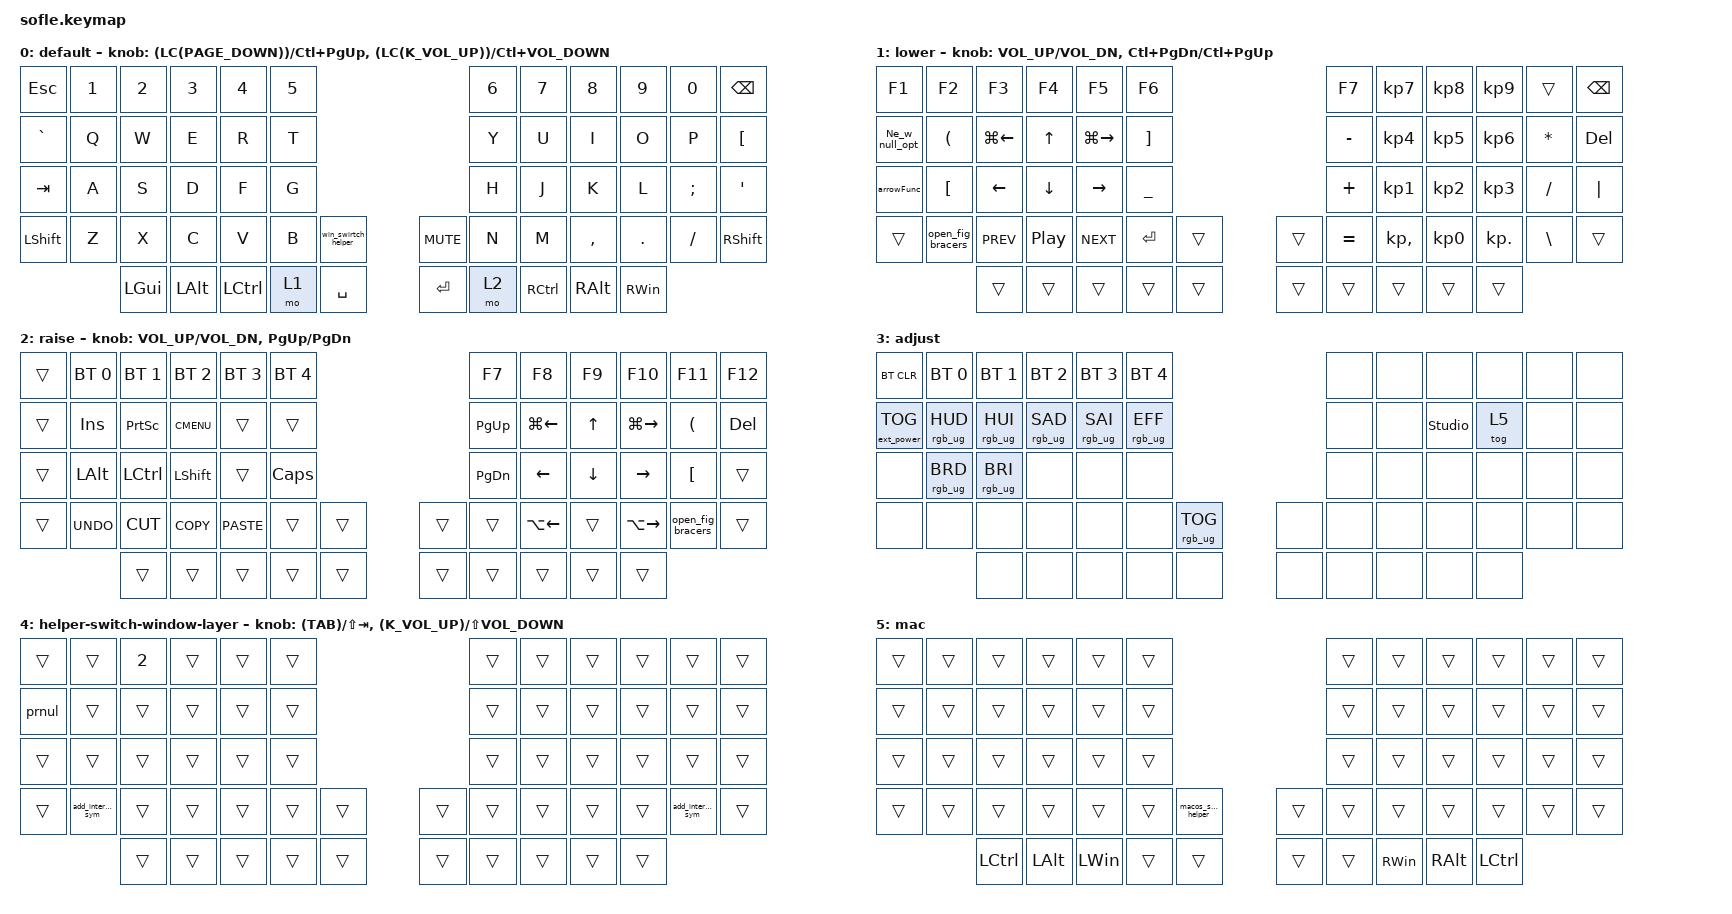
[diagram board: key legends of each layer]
/*
 * Copyright (c) 2020 The ZMK Contributors
 *
 * SPDX-License-Identifier: MIT
 */

#include <behaviors.dtsi>
#include <dt-bindings/zmk/bt.h>
#include <dt-bindings/zmk/ext_power.h>
#include <dt-bindings/zmk/keys.h>
#include <dt-bindings/zmk/rgb.h>

#define BASE 0
#define LOWER 1
#define RAISE 2
#define ADJUST 3

/ {
    // Activate ADJUST layer by pressing raise and lower

    conditional_layers {
        compatible = "zmk,conditional-layers";

        adjust_layer {
            if-layers = <1 2>;
            then-layer = <3>;
        };

        adjust2 {
            if-layers = <4 4>;
            then-layer = <4>;
        };
    };

    sensors: sensors {
        compatible = "zmk,keymap-sensors";
        sensors = <&left_encoder &right_encoder>;
        triggers-per-rotation = <18>;
    };

    left_encoder: encoder_left { steps = <36>; };

    right_encoder: encoder_right { steps = <36>; };

    macros {
        nonEquals: nonEquals {
            compatible = "zmk,behavior-macro";
            #binding-cells = <0>;
            bindings = <&kp EXCL &kp EQUAL>;
            label = "EXCL";
        };

        arrowFunc: arrowFunc {
            compatible = "zmk,behavior-macro";
            #binding-cells = <0>;
            bindings = <&kp EQUAL &kp GT>;
            label = "ARROWFUNC";
        };

        macos_switch_helper: macos_switch_helper {
            compatible = "zmk,behavior-macro";
            #binding-cells = <0>;
            bindings =
                <&macro_press>,
                <&tog 4 &kt LGUI>,
                <&macro_pause_for_release>,
                <&tog 4 &kt LGUI>;

            label = "MACOS_SWITCH_HELPER";
        };

        win_swirtch_helper: win_swirtch_helper {
            compatible = "zmk,behavior-macro";
            #binding-cells = <0>;
            bindings =
                <&macro_press>,
                <&tog 4 &kt LALT>,
                <&macro_pause_for_release>,
                <&tog 4 &kt LALT>,
                <&macro_press>;

            label = "WIN_SWIRTCH_HELPER";
        };

        Ne_w_null_opt: Ne_w_null_opt {
            compatible = "zmk,behavior-macro";
            #binding-cells = <0>;
            bindings = <&kp EXCLAMATION &kp EQUAL &sl 4>;
            label = "NE_W_NULL_OPT";
            tap-ms = <0>;
        };

        prnul: null {
            compatible = "zmk,behavior-macro";
            #binding-cells = <0>;
            bindings = <&kp SPACE &kp N &kp U &kp L &kp L &tog 0>;
            label = "NULL";
        };

        open_fig_bracers: open_fig_bracers {
            compatible = "zmk,behavior-macro";
            #binding-cells = <0>;
            bindings = <&kp LBRC &kp RBRC &sl 4>;
            label = "OPEN_FIG_BRACERS";
        };

        add_interpolation_sym: add_interpolation_sym {
            compatible = "zmk,behavior-macro";
            #binding-cells = <0>;
            bindings = <&kp LEFT_ARROW &kp DOLLAR &kp RIGHT_ARROW &tog 0>;
            label = "ADD_INTERPOLATION_SYM";
        };
    };

    keymap {
        compatible = "zmk,keymap";

        default {
            display-name = "default";

            // ------------------------------------------------------------------------------------------------------------
            // |   `   |  1  |  2  |  3   |  4   |  5   |                   |  6   |  7    |  8    |  9   |   0   |       |
            // |  ESC  |  Q  |  W  |  E   |  R   |  T   |                   |  Y   |  U    |  I    |  O   |   P   | BKSPC |
            // |  TAB  |  A  |  S  |  D   |  F   |  G   |                   |  H   |  J    |  K    |  L   |   ;   |   '   |
            // | SHIFT |  Z  |  X  |  C   |  V   |  B   |  MUTE  |  |       |  N   |  M    |  ,    |  .   |   /   | SHIFT |
            //               | GUI | ALT  | CTRL | LOWER|  ENTER |  | SPACE | RAISE| CTRL  | ALT   | GUI  |

            bindings = <
&kp ESCAPE  &kp N1  &kp N2    &kp N3    &kp N4     &kp N5                                     &kp N6  &kp N7     &kp N8     &kp N9         &kp N0    &kp BACKSPACE
&kp GRAVE   &kp Q   &kp W     &kp E     &kp R      &kp T                                      &kp Y   &kp U      &kp I      &kp O          &kp P     &kp LBKT
&kp TAB     &kp A   &kp S     &kp D     &kp F      &kp G                                      &kp H   &kp J      &kp K      &kp L          &kp SEMI  &kp SQT
&kp LSHFT   &kp Z   &kp X     &kp C     &kp V      &kp B   &win_swirtch_helper    &kp C_MUTE  &kp N   &kp M      &kp COMMA  &kp DOT        &kp FSLH  &kp RSHFT
                    &kp LGUI  &kp LALT  &kp LCTRL  &mo 1   &kp SPACE              &kp ENTER   &mo 2   &kp RCTRL  &kp RALT   &kp RIGHT_WIN
            >;

            sensor-bindings =
                <&inc_dec_kp (LC(PAGE_DOWN)) LC(PAGE_UP)>,
                <&inc_dec_kp (LC(K_VOLUME_UP)) LC(K_VOLUME_DOWN)>;
        };

        lower {
            display-name = "lower";

            // TODO: Some binds are waiting for shifted keycode support.
            // ------------------------------------------------------------------------------------------------------------
            // |       |  F1 |  F2 |  F3  |  F4  |  F5  |                   |  F6  |  F7   |  F8   |  F9  |  F10  |  F11  |
            // |   `   |  1  |  2  |  3   |  4   |  5   |                   |  6   |  7    |  8    |  9   |   0   |  F12  |
            // |       |  !  |  @  |  #   |  $   |  %   |                   |  ^   |  &    |  *    |  (   |   )   |   |   |
            // |       |  =  |  -  |  +   |  {   |  }   |        |  |       |  [   |  ]    |  ;    |  :   |   \   |       |
            //               |     |      |      |      |        |  |       |      |       |       |      |

            bindings = <
&kp F1          &kp F2             &kp F3          &kp F4            &kp F5         &kp F6                               &kp F7     &kp KP_N7     &kp KP_N8  &kp KP_N9   &trans     &kp BACKSPACE
&Ne_w_null_opt  &kp LPAR           &kp LG(LEFT)    &kp UP_ARROW      &kp LG(RIGHT)  &kp RIGHT_BRACKET                    &kp MINUS  &kp KP_N4     &kp KP_N5  &kp KP_N6   &kp ASTRK  &kp DEL
&arrowFunc      &kp LBKT           &kp LEFT_ARROW  &kp DOWN_ARROW    &kp RIGHT      &kp UNDER                            &kp PLUS   &kp KP_N1     &kp KP_N2  &kp KP_N3   &kp FSLH   &kp PIPE
&trans          &open_fig_bracers  &kp C_PREV      &kp C_PLAY_PAUSE  &kp C_NEXT     &kp ENTER          &trans    &trans  &kp EQUAL  &kp KP_COMMA  &kp KP_N0  &kp KP_DOT  &kp BSLH   &trans
                                   &trans          &trans            &trans         &trans             &trans    &trans  &trans     &trans        &trans     &trans
            >;

            sensor-bindings =
                <&inc_dec_kp C_VOL_UP C_VOL_DN>,
                <&inc_dec_kp LC(PG_DN) LC(PG_UP)>;
        };

        raise {
            display-name = "raise";

            // ------------------------------------------------------------------------------------------------------------
            // | BTCLR | BT1  | BT2  |  BT3  |  BT4  |  BT5 |                |      |      |       |      |       |       |
            // |       | INS  | PSCR | GUI   |       |      |                | PGUP |      |   ^   |      |       |       |
            // |       | ALT  | CTRL | SHIFT |       | CAPS |                | PGDN |   <- |   v   |  ->  |  DEL  | BKSPC |
            // |       | UNDO | CUT  | COPY  | PASTE |      |      |  |      |      |      |       |      |       |       |
            //                |      |       |       |      |      |  |      |      |      |       |      |

            bindings = <
&trans  &bt BT_SEL 0  &bt BT_SEL 1  &bt BT_SEL 2  &bt BT_SEL 3  &bt BT_SEL 4                    &kp F7     &kp F8        &kp F9    &kp F10        &kp F11            &kp F12
&trans  &kp INS       &kp PSCRN     &kp K_CMENU   &trans        &trans                          &kp PG_UP  &kp LG(LEFT)  &kp UP    &kp LG(RIGHT)  &kp LPAR           &kp DELETE
&trans  &kp LALT      &kp LCTRL     &kp LSHFT     &trans        &kp CLCK                        &kp PG_DN  &kp LEFT      &kp DOWN  &kp RIGHT      &kp LBKT           &trans
&trans  &kp K_UNDO    &kp K_CUT     &kp K_COPY    &kp K_PASTE   &trans        &trans    &trans  &trans     &kp LA(LEFT)  &trans    &kp LA(RIGHT)  &open_fig_bracers  &trans
                      &trans        &trans        &trans        &trans        &trans    &trans  &trans     &trans        &trans    &trans
            >;

            sensor-bindings = <&inc_dec_kp C_VOL_UP C_VOL_DN &inc_dec_kp PG_UP PG_DN>;
        };

        adjust {
            // ----------------------------------------------------------------------------------------------------------------------------
            // | BTCLR  |  BT1    |  BT2    |   BT3   |   BT4   |   BT5   |                  |      |      |       |      |       |       |
            // | EXTPWR | RGB_HUD | RGB_HUI | RGB_SAD | RGB_SAI | RGB_EFF |                  |      |      |       |      |       |       |
            // |        | RGB_BRD | RGB_BRI |         |         |         |                  |      |      |       |      |       |       |
            // |        |         |         |         |         |         | RGB_TOG | |      |      |      |       |      |       |       |
            //                    |         |         |         |         |         | |      |      |      |       |      |

            display-name = "adjust";
            bindings = <
&bt BT_CLR         &bt BT_SEL 0     &bt BT_SEL 1     &bt BT_SEL 2     &bt BT_SEL 3     &bt BT_SEL 4                               &none  &none  &none           &none   &none  &none
&ext_power EP_TOG  &rgb_ug RGB_HUD  &rgb_ug RGB_HUI  &rgb_ug RGB_SAD  &rgb_ug RGB_SAI  &rgb_ug RGB_EFF                            &none  &none  &studio_unlock  &tog 5  &none  &none
&none              &rgb_ug RGB_BRD  &rgb_ug RGB_BRI  &none            &none            &none                                      &none  &none  &none           &none   &none  &none
&none              &none            &none            &none            &none            &none            &rgb_ug RGB_TOG    &none  &none  &none  &none           &none   &none  &none
                                    &none            &none            &none            &none            &none              &none  &none  &none  &none           &none
            >;
        };

        helper-switch-window-layer {
            bindings = <
&trans  &trans                  &kp NUMBER_2  &trans  &trans  &trans                    &trans  &trans  &trans  &trans  &trans                  &trans
&prnul  &trans                  &trans        &trans  &trans  &trans                    &trans  &trans  &trans  &trans  &trans                  &trans
&trans  &trans                  &trans        &trans  &trans  &trans                    &trans  &trans  &trans  &trans  &trans                  &trans
&trans  &add_interpolation_sym  &trans        &trans  &trans  &trans  &trans    &trans  &trans  &trans  &trans  &trans  &add_interpolation_sym  &trans
                                &trans        &trans  &trans  &trans  &trans    &trans  &trans  &trans  &trans  &trans
            >;

            sensor-bindings =
                <&inc_dec_kp (TAB) LS(TAB)>,
                <&inc_dec_kp (K_VOLUME_UP) LS(K_VOLUME_DOWN)>;
        };

        mac_layer {
            bindings = <
&trans  &trans  &trans     &trans    &trans    &trans                                  &trans  &trans    &trans    &trans     &trans  &trans
&trans  &trans  &trans     &trans    &trans    &trans                                  &trans  &trans    &trans    &trans     &trans  &trans
&trans  &trans  &trans     &trans    &trans    &trans                                  &trans  &trans    &trans    &trans     &trans  &trans
&trans  &trans  &trans     &trans    &trans    &trans  &macos_switch_helper    &trans  &trans  &trans    &trans    &trans     &trans  &trans
                &kp LCTRL  &kp LALT  &kp LWIN  &trans  &trans                  &trans  &trans  &kp RWIN  &kp RALT  &kp LCTRL
            >;

            label = "mac";
        };
    };
};
